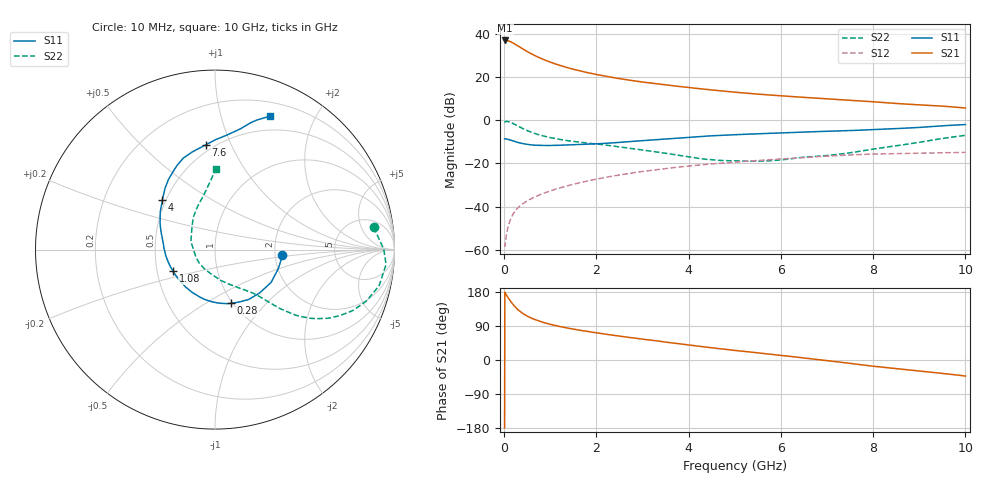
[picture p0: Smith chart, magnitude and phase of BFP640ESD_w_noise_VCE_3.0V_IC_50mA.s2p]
! Infineon Technologies  Discrete & RF Semiconductors
! BFP640ESD
! VCE =  3.0 V,  IC =  50 mA
! Common Emitter S-Parameters:  Jan 2016
# GHz  S  MA  R  50
!  f  S11  S21  S12  S22
! GHz  MAG  ANG  MAG  ANG  MAG  ANG  MAG  ANG
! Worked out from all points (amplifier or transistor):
!   233 points, 10 MHz to 10 GHz, reference 50 ohm
!   highest |S21| = 37.2 dB at 20 MHz (marker M1)
!   |S21| within 3 dB of that: start of sweep to 333.5 MHz
!   unconditionally stable (mu >= 1): 1.816 GHz to 6.853 GHz
!   at 200 MHz: K = 0.38, MSG = 39.6 dB, |S12| = -43.2 dB
!   at 1.74 GHz: K = 1.00, MSG = 25.5 dB, |S12| = -28.4 dB
!   at 10 GHz: K = 0.88, MSG = 10.3 dB, |S12| = -14.8 dB
!   lowest NFmin = 1.46 dB at 450 MHz
!   S11 on the Smith chart (normalised r, x): 10 MHz: 2.19, -0.16; 280 MHz: 0.99, -0.65; 1.08 GHz: 0.61, -0.16; 4 GHz: 0.48, +0.32; 7.6 GHz: 0.45, +0.81; 10 GHz: 0.34, +1.44
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0.01  0.3753 -4.7  70.61 -178.9  0.0013 114.0  0.8928 8.0
0.02  0.3735 -7.4  72.04 176.9  0.0012 99.3  0.9405 0.1
0.05  0.369 -16.3  71.87 171.0  0.0022 92.1  0.9566 -5.0
0.1  0.362 -30.3  70.39 161.8  0.0038 79.7  0.9363 -12.4
0.15  0.3469 -44.1  66.71 152.9  0.0054 76.7  0.8927 -18.6
0.2  0.3353 -56.1  62.55 145.3  0.0069 73.8  0.8413 -23.7
0.28  0.3121 -73.1  55.34 135.0  0.0089 71.4  0.7581 -29.8
0.34  0.3006 -84.2  50.49 128.7  0.0103 69.9  0.7009 -33.3
0.42  0.2877 -96.5  44.68 121.6  0.0119 68.8  0.6352 -36.6
0.5  0.2781 -107.4  39.75 115.8  0.0135 68.2  0.5801 -39.1
0.6  0.2699 -118.4  34.74 109.8  0.0154 68.3  0.5252 -40.9
0.8  0.2621 -135.6  27.45 100.9  0.0192 68.3  0.4494 -43.3
1.08  0.2629 -152.6  21.05 91.8  0.0246 68.4  0.3833 -45.5
1.68  0.2777 -175.3  13.86 77.7  0.0367 66.7  0.3082 -50.1
2.4  0.3035 166.4  9.744 64.7  0.0521 62.4  0.2513 -58.1
3.4  0.3637 147.1  6.886 48.9  0.0741 53.9  0.1794 -77.2
4  0.4038 136.5  5.808 39.5  0.0874 48.3  0.1431 -95.2
5.1  0.472 122.8  4.432 24.1  0.1095 37.3  0.1143 -144.2
6.8  0.5508 105.3  3.278 1.2  0.1437 20.4  0.1473 154.5
7.6  0.5866 94.9  2.901 -10.4  0.1595 11.3  0.1837 133.8
8.4  0.6383 84.6  2.52 -21.5  0.1688 1.7  0.2487 114.5
10  0.8032 67.6  1.943 -42.4  0.1811 -14.1  0.4508 89.3
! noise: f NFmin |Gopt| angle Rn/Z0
0.45  1.46  0.32  -168  0.11
0.9  1.47  0.35  -163  0.09
1.9  1.52  0.36  -142  0.13
2.4  1.54  0.37  -134  0.14
5.5  1.81  0.52  -97  0.32
10  2.48  0.61  -71  1.22
